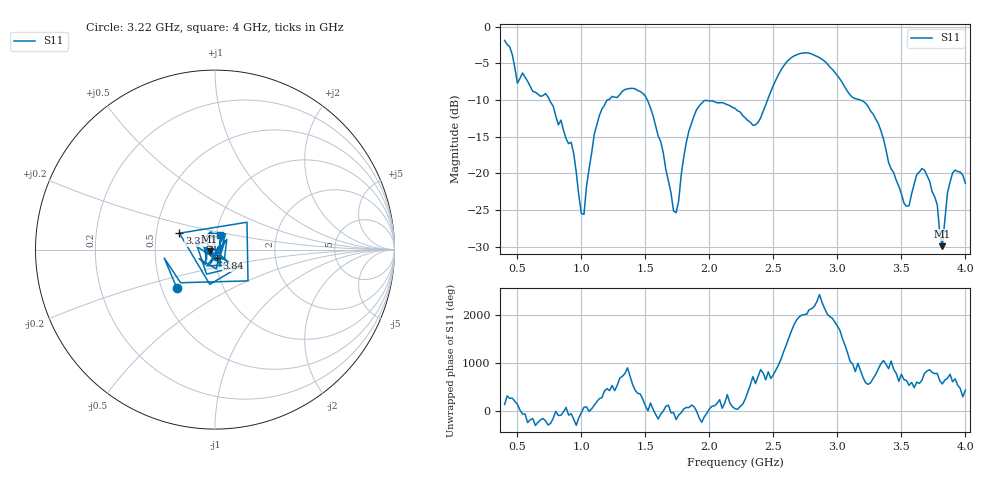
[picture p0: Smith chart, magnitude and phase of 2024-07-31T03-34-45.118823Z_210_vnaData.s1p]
!Created with skrf (http://scikit-rf.org).
# Hz S RI R 50.0
!freq ReS11 ImS11
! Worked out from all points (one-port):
!   181 points, 400 MHz to 4 GHz, reference 50 ohm
!   lowest |S11| = -29.9 dB at 3.82 GHz (marker M1), VSWR 1.07, Z = 47.1 - j0.987 ohm
!   |S11| at or under -10 dB: 751.7 MHz to 1.2 GHz (448.1 MHz wide, 45.9 % of centre); 1.515 GHz to 2.454 GHz (938.6 MHz wide, 47.3 % of centre); 3.18 GHz to end of sweep
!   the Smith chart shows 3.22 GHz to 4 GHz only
!   S11 on the Smith chart (normalised r, x): 3.22 GHz: 0.60, -0.28; 3.32 GHz: 0.66, +0.13; 3.84 GHz: 1.01, -0.10; 4 GHz: 1.04, +0.17
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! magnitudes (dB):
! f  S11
! 400 MHz  -1.9
! 500 MHz  -7.7
! 720 MHz  -9.1
! 860 MHz  -14.1
! 920 MHz  -15.8
! 1.02 GHz  -25.6
! 1.14 GHz  -12.1
! 1.3 GHz  -9.2
! 1.5 GHz  -9.5
! 1.62 GHz  -15.7
! 1.72 GHz  -25.1
! 1.76 GHz  -23.7
! 1.82 GHz  -15.7
! 1.9 GHz  -11.3
! 2.2 GHz  -11.1
! 2.36 GHz  -13.4
! 2.66 GHz  -4.0
! 2.88 GHz  -4.4
! 3.1 GHz  -9.3
! 3.22 GHz  -10.4
! 3.32 GHz  -13.2
! 3.56 GHz  -24.4
! 3.68 GHz  -19.5
! 3.78 GHz  -24.3
! 3.82 GHz  -29.9
! 3.84 GHz  -26.3
! 3.9 GHz  -19.9
! 4 GHz  -21.3
